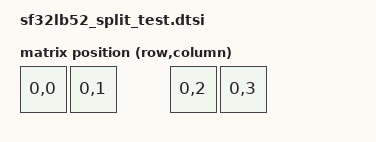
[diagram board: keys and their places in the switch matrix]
#include <zephyr/dt-bindings/gpio/gpio.h>
#include <dt-bindings/zmk/matrix_transform.h>
#include <physical_layouts.dtsi>

/ {
	chosen {
		zmk,kscan = &kscan_direct;
	};

	default_transform: keypad_transform_0 {
		compatible = "zmk,matrix-transform";
		columns = <4>;
		rows = <1>;
		map = < RC(0,0) RC(0,1) RC(0,2) RC(0,3) >;
	};

	default_layout: default_layout {
		compatible = "zmk,physical-layout";
		display-name = "Default";
		transform = <&default_transform>;
		keys
			= <&key_physical_attrs 100 100   0   0   0 0 0>
			, <&key_physical_attrs 100 100 100   0   0 0 0>
			, <&key_physical_attrs 100 100 300   0   0 0 0>
			, <&key_physical_attrs 100 100 400   0   0 0 0>
			;
	};

	kscan_direct: kscan_direct {
		compatible = "zmk,kscan-gpio-direct";
	};
};
